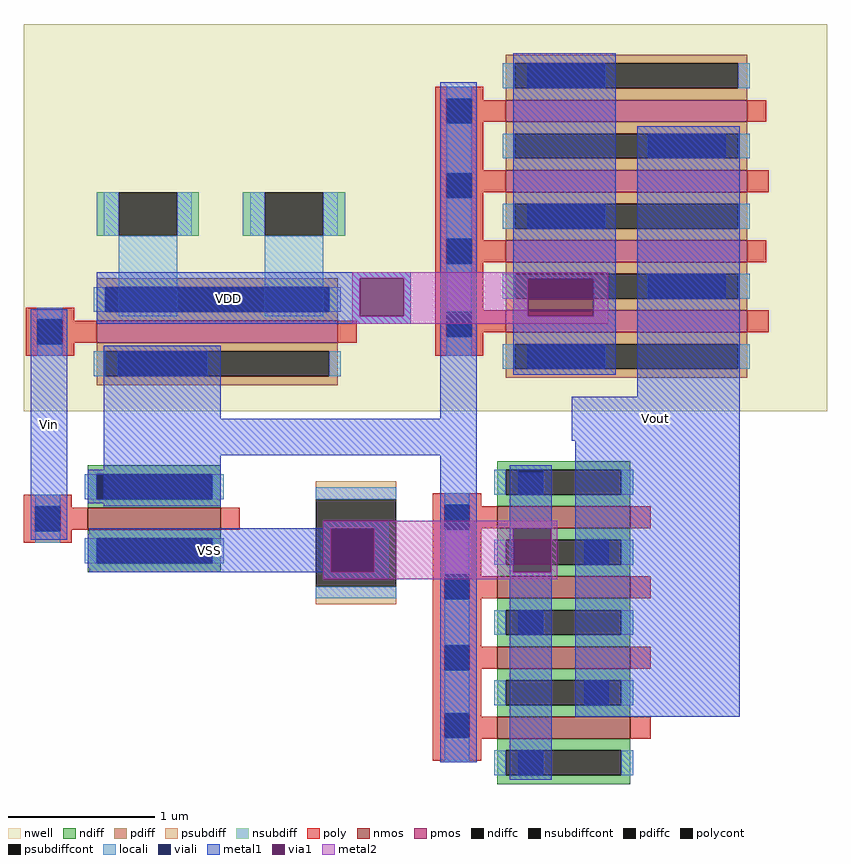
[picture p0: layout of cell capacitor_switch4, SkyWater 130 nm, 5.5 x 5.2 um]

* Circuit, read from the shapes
.subckt capacitor_switch4 VDD Vin Vout VSS
XM1 n1 Vin VSS VSS sky130_fd_pr__nfet_01v8 w=0.91 l=0.15
XM2 Vout n1 VSS VSS sky130_fd_pr__nfet_01v8 w=0.91 l=0.15 m=4
XM3 VDD Vin n1 VDD sky130_fd_pr__pfet_01v8 w=1.65 l=0.15
XM4 Vout n1 VDD VDD sky130_fd_pr__pfet_01v8 w=1.65 l=0.15 m=4
.ends

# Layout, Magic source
magic
tech sky130A
magscale 1 2
<< nwell >>
rect 200 1040 1300 1570
<< psubdiff >>
rect 600 920 710 944
rect 600 776 710 800
<< nsubdiff >>
rect 300 1280 330 1340
rect 410 1280 440 1340
rect 500 1280 530 1340
rect 610 1280 640 1340
<< psubdiffcont >>
rect 600 800 710 920
<< nsubdiffcont >>
rect 330 1280 410 1340
rect 530 1280 610 1340
<< locali >>
rect 310 1280 330 1340
rect 410 1280 430 1340
rect 510 1280 530 1340
rect 610 1280 630 1340
rect 330 1170 410 1280
rect 530 1170 610 1280
rect 600 920 710 936
rect 600 784 710 800
<< viali >>
rect 620 820 680 880
<< metal1 >>
rect 300 1222 730 1230
rect 210 864 260 1180
rect 300 1170 660 1222
rect 720 1170 730 1222
rect 300 1160 730 1170
rect 310 1030 470 1130
rect 770 1030 820 1490
rect 870 1222 1010 1530
rect 870 1170 890 1222
rect 980 1170 1010 1222
rect 870 1090 1010 1170
rect 1040 1060 1180 1430
rect 310 980 820 1030
rect 950 1000 1180 1060
rect 310 910 470 980
rect 610 880 700 890
rect 290 820 620 880
rect 680 820 700 880
rect 610 810 700 820
rect 770 560 820 980
rect 865 880 923 956
rect 865 820 870 880
rect 922 820 923 880
rect 865 536 923 820
rect 955 622 1180 1000
<< via1 >>
rect 660 1170 720 1222
rect 890 1170 980 1222
rect 620 820 680 880
rect 870 820 922 880
<< metal2 >>
rect 650 1222 1000 1230
rect 650 1170 660 1222
rect 720 1170 890 1222
rect 980 1170 1000 1222
rect 650 1160 1000 1170
rect 610 880 930 890
rect 610 820 620 880
rect 680 820 870 880
rect 922 820 930 880
rect 610 810 930 820
use sky130_fd_pr__pfet_01v8_C7DZJH  XM4
transform 0 1 1025 -1 0 1307
box -263 -295 267 275
use sky130_fd_pr__nfet_01v8_9CGS2F  sky130_fd_pr__nfet_01v8_9CGS2F_0
transform 0 1 348 -1 0 893
box -73 -148 73 148
use sky130_fd_pr__nfet_01v8_ZZU2YL  sky130_fd_pr__nfet_01v8_ZZU2YL_0
transform 0 1 939 -1 0 751
box -221 -179 221 119
use sky130_fd_pr__pfet_01v8_46WN3R  sky130_fd_pr__pfet_01v8_46WN3R_0
transform 0 1 429 1 0 1149
box -109 -229 109 263
<< labels >>
rlabel metal1 300 1160 660 1230 1 VDD
port 1 n
rlabel metal1 210 864 260 1180 1 Vin
port 2 n
rlabel metal1 950 1000 1180 1060 1 Vout
port 3 n
rlabel metal1 290 820 620 880 1 VSS
port 4 n
<< end >>

# cell sky130_fd_pr__pfet_01v8_C7DZJH: kit device sky130_fd_pr__pfet_01v8, w 1.65 l 0.15 m 1 nf 4 diffcov 100 polycov 100 guard 0 glc 1 grc 1 gtc 1 gbc 1 tbcov 100 rlcov 100 topc 1 botc 1 poverlap 0 doverlap 1 lmin 0.15 wmin 0.42 compatible {sky130_fd_pr__pfet_01v8 sky130_fd_pr__pfet_01v8_lvt sky130_fd_pr__pfet_01v8_hvt sky130_fd_pr__pfet_g5v0d10v5} full_metal 0 viasrc -35 viadrn +35 viagate 100 viagb 0 viagr 0 viagl 0 viagt 0

# cell sky130_fd_pr__nfet_01v8_9CGS2F: kit device sky130_fd_pr__nfet_01v8, w 0.91 l 0.15 m 1 nf 1 diffcov 100 polycov 100 guard 0 glc 1 grc 1 gtc 1 gbc 1 tbcov 100 rlcov 100 topc 0 botc 1 poverlap 0 doverlap 1 lmin 0.15 wmin 0.42 compatible {sky130_fd_pr__nfet_01v8 sky130_fd_pr__nfet_01v8_lvt sky130_fd_bs_flash__special_sonosfet_star sky130_fd_pr__nfet_g5v0d10v5 sky130_fd_pr__nfet_05v0_nvt sky130_fd_pr__nfet_03v3_nvt} full_metal 0 viasrc 100 viadrn 100 viagate 100 viagb 0 viagr 0 viagl 0 viagt 0

# cell sky130_fd_pr__nfet_01v8_ZZU2YL: kit device sky130_fd_pr__nfet_01v8, w 0.91 l 0.15 m 1 nf 4 diffcov 100 polycov 100 guard 0 glc 1 grc 1 gtc 1 gbc 1 tbcov 100 rlcov 100 topc 1 botc 1 poverlap 0 doverlap 1 lmin 0.15 wmin 0.42 compatible {sky130_fd_pr__nfet_01v8 sky130_fd_pr__nfet_01v8_lvt sky130_fd_bs_flash__special_sonosfet_star sky130_fd_pr__nfet_g5v0d10v5 sky130_fd_pr__nfet_05v0_nvt sky130_fd_pr__nfet_03v3_nvt} full_metal 0 viasrc -20 viadrn +20 viagate 100 viagb 0 viagr 0 viagl 0 viagt 0

# cell sky130_fd_pr__pfet_01v8_46WN3R: kit device sky130_fd_pr__pfet_01v8, w 1.65 l 0.15 m 1 nf 1 diffcov 100 polycov 100 guard 0 glc 1 grc 1 gtc 1 gbc 1 tbcov 100 rlcov 100 topc 0 botc 1 poverlap 0 doverlap 1 lmin 0.15 wmin 0.42 compatible {sky130_fd_pr__pfet_01v8 sky130_fd_pr__pfet_01v8_lvt sky130_fd_pr__pfet_01v8_hvt sky130_fd_pr__pfet_g5v0d10v5} full_metal 0 viasrc 100 viadrn +40 viagate 100 viagb 0 viagr 0 viagl 0 viagt 0
